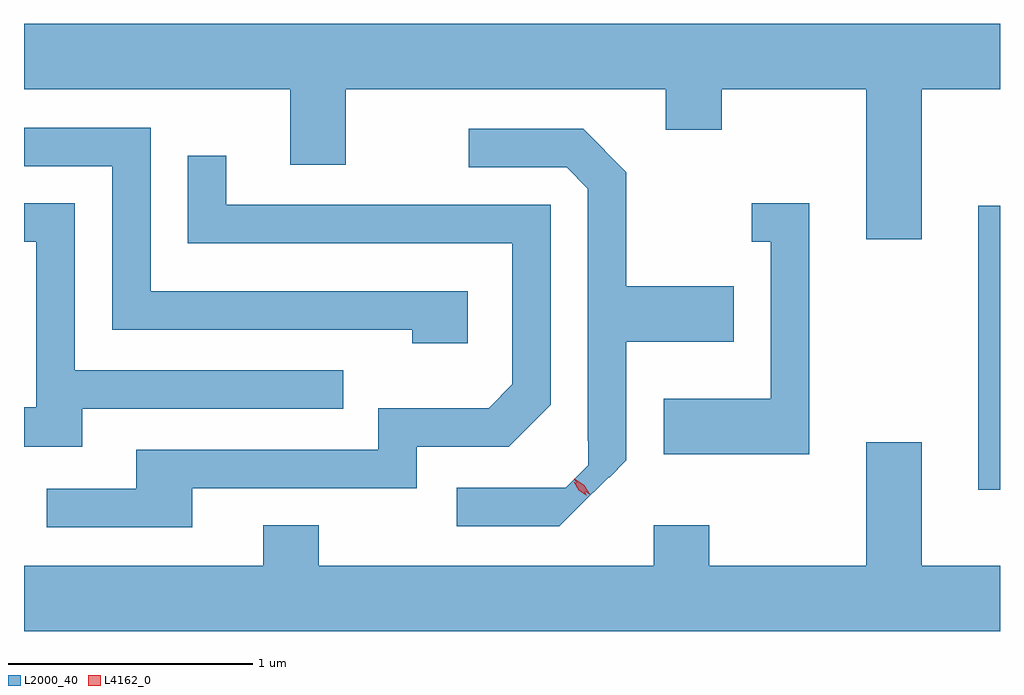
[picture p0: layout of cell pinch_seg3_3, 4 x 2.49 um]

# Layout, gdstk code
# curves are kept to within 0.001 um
import gdstk
lib = gdstk.Library(unit=1e-6, precision=1e-09)
def R(c, l, rs):  # rectangles x0, y0, x1, y1
    for r in rs: c.add(gdstk.rectangle(r[:2], r[2:], *l))
def P(c, l, *ps):  # polygons
    for p in ps: c.add(gdstk.Polygon(p, *l))
L2000_40 = (2000, 40)
L4162_0 = (4162, 0)

pinch_seg3_3 = lib.new_cell('pinch_seg3_3')
R(pinch_seg3_3, L2000_40, [(849.421,1246.476,849.51,1247.639)])
P(pinch_seg3_3, L2000_40, [(849.189,1248.116),(849.51,1248.116),(849.51,1248.384),(845.51,1248.384),(845.51,1248.116),(846.601,1248.116),(846.601,1247.806),(846.829,1247.806),(846.829,1248.116),(848.141,1248.116),(848.141,1247.951),(848.369,1247.951),(848.369,1248.116),(848.961,1248.116),(848.961,1247.501),(849.189,1247.501)],
  [(847.329,1247.289),(846.029,1247.289),(846.029,1247.959),(845.51,1247.959),(845.51,1247.801),(845.871,1247.801),(845.871,1247.131),(847.101,1247.131),(847.101,1247.076),(847.329,1247.076)],
  [(847.777,1246.399),(847.906,1246.527),(847.908,1246.525),(847.979,1246.596),(847.979,1247.081),(848.419,1247.081),(848.419,1247.309),(847.979,1247.309),(847.979,1247.777),(847.802,1247.954),(847.333,1247.954),(847.333,1247.796),(847.734,1247.796),(847.821,1247.709),(847.822,1246.575),(847.731,1246.484),(847.283,1246.484),(847.283,1246.326),(847.704,1246.326)],
  [(846.199,1246.481),(847.119,1246.481),(847.119,1246.651),(847.497,1246.651),(847.669,1246.824),(847.669,1247.644),(846.339,1247.644),(846.339,1247.843),(846.181,1247.843),(846.181,1247.486),(847.511,1247.486),(847.511,1246.907),(847.414,1246.809),(846.961,1246.809),(846.961,1246.639),(845.971,1246.639),(845.971,1246.479),(845.603,1246.479),(845.603,1246.321),(846.199,1246.321)],
  [(845.749,1246.806),(846.818,1246.806),(846.818,1246.964),(845.719,1246.964),(845.719,1247.649),(845.51,1247.649),(845.51,1247.491),(845.561,1247.491),(845.561,1246.814),(845.51,1246.814),(845.51,1246.651),(845.749,1246.651)],
  [(848.729,1247.649),(848.493,1247.649),(848.493,1247.491),(848.571,1247.491),(848.571,1246.849),(848.131,1246.849),(848.131,1246.621),(848.729,1246.621)],
  [(849.51,1246.164),(849.189,1246.164),(849.189,1246.669),(848.961,1246.669),(848.961,1246.164),(848.319,1246.164),(848.319,1246.329),(848.091,1246.329),(848.091,1246.164),(846.719,1246.164),(846.719,1246.329),(846.491,1246.329),(846.491,1246.164),(845.51,1246.164),(845.51,1245.896),(849.51,1245.896)])
P(pinch_seg3_3, L4162_0, [(847.816,1246.45),(847.783,1246.472),(847.763,1246.508),(847.763,1246.508),(847.764,1246.508),(847.797,1246.486),(847.817,1246.45),(847.817,1246.45)],
  [(847.83,1246.454),(847.791,1246.48),(847.766,1246.519),(847.766,1246.52),(847.767,1246.52),(847.806,1246.494),(847.83,1246.454),(847.83,1246.454)])

lib.write_gds('pinch_seg3_3.gds')
